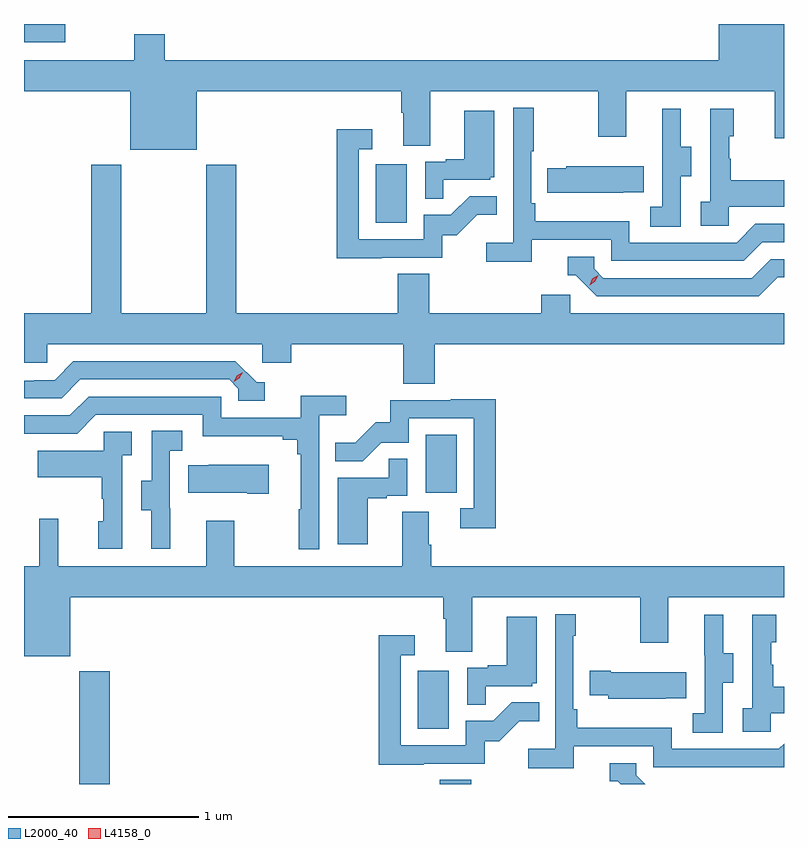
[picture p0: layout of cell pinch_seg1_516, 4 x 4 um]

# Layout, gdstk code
import gdstk
lib = gdstk.Library(unit=1e-6, precision=1e-09)
def R(c, l, rs):  # rectangles x0, y0, x1, y1
    for r in rs: c.add(gdstk.rectangle(r[:2], r[2:], *l))
def P(c, l, *ps):  # polygons
    for p in ps: c.add(gdstk.Polygon(p, *l))
L2000_40 = (2000, 40)
L4158_0 = (4158, 0)

pinch_seg1_516 = lib.new_cell('pinch_seg1_516')
R(pinch_seg1_516, L2000_40, [(1059.976,538.762,1060.136,539.356), (1061.873,538.762,1062.038,538.784), (1061.756,539.052,1061.92,539.359), (1061.798,540.294,1061.962,540.601), (1061.534,541.716,1061.698,542.023), (1059.684,542.667,1059.901,542.762)])
P(pinch_seg1_516, L2000_40, [(1060.594,542.408),(1061.669,542.408),(1061.669,542.296),(1061.681,542.296),(1061.681,542.122),(1061.821,542.122),(1061.821,542.408),(1062.706,542.408),(1062.706,542.169),(1062.853,542.169),(1062.853,542.408),(1063.634,542.408),(1063.634,542.16),(1063.684,542.16),(1063.684,542.762),(1063.34,542.762),(1063.34,542.572),(1060.424,542.572),(1060.424,542.707),(1060.264,542.707),(1060.264,542.572),(1059.684,542.572),(1059.684,542.408),(1060.244,542.408),(1060.244,542.099),(1060.594,542.099)],
  [(1062.356,541.626),(1062.774,541.626),(1062.774,541.515),(1063.471,541.515),(1063.57,541.614),(1063.684,541.614),(1063.684,541.71),(1063.533,541.71),(1063.434,541.611),(1062.87,541.611),(1062.87,541.723),(1062.374,541.723),(1062.374,541.819),(1062.354,541.819),(1062.354,542.092),(1062.367,542.092),(1062.367,542.32),(1062.258,542.32),(1062.258,541.612),(1062.117,541.612),(1062.117,541.51),(1062.356,541.51)],
  [(1063.14,541.96),(1063.195,541.96),(1063.195,542.115),(1063.141,542.115),(1063.141,542.317),(1063.043,542.317),(1063.043,542.103),(1063.044,542.103),(1063.044,541.799),(1062.981,541.799),(1062.981,541.696),(1063.14,541.696)],
  [(1063.392,541.799),(1063.684,541.799),(1063.684,541.939),(1063.405,541.939),(1063.405,542.054),(1063.395,542.054),(1063.395,542.172),(1063.42,542.172),(1063.42,542.317),(1063.296,542.317),(1063.296,541.826),(1063.245,541.826),(1063.245,541.701),(1063.392,541.701)],
  [(1061.891,541.941),(1062.138,541.941),(1062.138,541.956),(1062.16,541.956),(1062.16,542.305),(1062.002,542.305),(1062.002,542.05),(1061.903,542.05),(1061.903,542.037),(1061.796,542.037),(1061.796,541.843),(1061.891,541.843)],
  [(1061.567,541.533),(1061.886,541.533),(1061.886,541.65),(1061.962,541.65),(1062.069,541.757),(1062.173,541.757),(1062.173,541.856),(1062.029,541.856),(1061.931,541.758),(1061.787,541.758),(1061.787,541.629),(1061.445,541.629),(1061.445,542.103),(1061.518,542.103),(1061.518,542.209),(1061.329,542.209),(1061.329,541.528),(1061.567,541.528)],
  [(1061.846,541.076),(1063.684,541.076),(1063.684,541.24),(1062.558,541.24),(1062.558,541.338),(1062.407,541.338),(1062.407,541.24),(1061.816,541.24),(1061.816,541.448),(1061.651,541.448),(1061.651,541.24),(1060.802,541.24),(1060.802,542.02),(1060.642,542.02),(1060.642,541.24),(1060.197,541.24),(1060.197,542.02),(1060.037,542.02),(1060.037,541.24),(1059.684,541.24),(1059.684,540.978),(1059.807,540.978),(1059.807,541.076),(1060.938,541.076),(1060.938,540.978),(1061.09,540.978),(1061.09,541.076),(1061.681,541.076),(1061.681,540.868),(1061.846,540.868)],
  [(1062.839,541.877),(1062.947,541.877),(1062.947,542.014),(1062.537,542.014),(1062.537,542.004),(1062.439,542.004),(1062.439,541.874),(1062.839,541.874)],
  [(1063.651,541.428),(1063.684,541.428),(1063.684,541.524),(1063.614,541.524),(1063.515,541.425),(1062.732,541.425),(1062.684,541.473),(1062.684,541.536),(1062.545,541.536),(1062.545,541.44),(1062.588,541.44),(1062.699,541.329),(1063.552,541.329)],
  [(1060.951,540.876),(1060.908,540.876),(1060.797,540.987),(1059.944,540.987),(1059.845,540.888),(1059.738,540.888),(1059.738,540.885),(1059.684,540.885),(1059.684,540.792),(1059.882,540.792),(1059.981,540.891),(1060.764,540.891),(1060.812,540.843),(1060.812,540.78),(1060.951,540.78)],
  [(1061.238,540.704),(1061.38,540.704),(1061.38,540.806),(1061.141,540.806),(1061.141,540.69),(1060.722,540.69),(1060.722,540.801),(1060.025,540.801),(1059.926,540.702),(1059.684,540.702),(1059.684,540.606),(1059.963,540.606),(1060.062,540.705),(1060.626,540.705),(1060.626,540.593),(1061.045,540.593),(1061.045,540.574),(1061.122,540.574),(1061.122,540.497),(1061.141,540.497),(1061.141,540.209),(1061.13,540.209),(1061.13,539.997),(1061.238,539.997)],
  [(1062.167,540.788),(1061.929,540.788),(1061.929,540.783),(1061.611,540.783),(1061.611,540.666),(1061.534,540.666),(1061.427,540.559),(1061.323,540.559),(1061.323,540.46),(1061.467,540.46),(1061.565,540.558),(1061.709,540.558),(1061.709,540.687),(1062.051,540.687),(1062.051,540.213),(1061.979,540.213),(1061.979,540.108),(1062.167,540.108)],
  [(1060.454,540.213),(1060.452,540.213),(1060.452,540.517),(1060.516,540.517),(1060.516,540.62),(1060.356,540.62),(1060.356,540.357),(1060.301,540.357),(1060.301,540.202),(1060.355,540.202),(1060.355,540),(1060.454,540)],
  [(1060.2,540.491),(1060.252,540.491),(1060.252,540.615),(1060.104,540.615),(1060.104,540.517),(1059.757,540.517),(1059.757,540.377),(1060.092,540.377),(1060.092,540.263),(1060.102,540.263),(1060.102,540.144),(1060.076,540.144),(1060.076,540),(1060.2,540)],
  [(1061.494,540.267),(1061.594,540.267),(1061.594,540.279),(1061.7,540.279),(1061.7,540.473),(1061.605,540.473),(1061.605,540.375),(1061.336,540.375),(1061.336,540.024),(1061.494,540.024)],
  [(1060.972,540.442),(1060.657,540.442),(1060.657,540.439),(1060.549,540.439),(1060.549,540.296),(1060.859,540.296),(1060.859,540.289),(1060.972,540.289)],
  [(1059.928,539.744),(1061.891,539.744),(1061.891,539.632),(1061.903,539.632),(1061.903,539.458),(1062.043,539.458),(1062.043,539.744),(1062.928,539.744),(1062.928,539.505),(1063.075,539.505),(1063.075,539.744),(1063.684,539.744),(1063.684,539.908),(1061.828,539.908),(1061.828,540.02),(1061.815,540.02),(1061.815,540.194),(1061.675,540.194),(1061.675,539.908),(1060.791,539.908),(1060.791,540.148),(1060.643,540.148),(1060.643,539.908),(1059.863,539.908),(1059.863,540.157),(1059.765,540.157),(1059.765,539.908),(1059.684,539.908),(1059.684,539.435),(1059.928,539.435)],
  [(1062.578,538.962),(1062.996,538.962),(1062.996,538.851),(1063.684,538.851),(1063.684,538.975),(1063.656,538.947),(1063.092,538.947),(1063.092,539.059),(1062.596,539.059),(1062.596,539.155),(1062.576,539.155),(1062.576,539.543),(1062.589,539.543),(1062.589,539.656),(1062.48,539.656),(1062.48,538.948),(1062.339,538.948),(1062.339,538.846),(1062.578,538.846)],
  [(1063.362,539.296),(1063.417,539.296),(1063.417,539.451),(1063.363,539.451),(1063.363,539.653),(1063.265,539.653),(1063.265,539.439),(1063.266,539.439),(1063.266,539.135),(1063.203,539.135),(1063.203,539.032),(1063.362,539.032)],
  [(1063.614,539.135),(1063.684,539.135),(1063.684,539.275),(1063.627,539.275),(1063.627,539.39),(1063.617,539.39),(1063.617,539.508),(1063.642,539.508),(1063.642,539.653),(1063.518,539.653),(1063.518,539.162),(1063.467,539.162),(1063.467,539.037),(1063.614,539.037)],
  [(1062.113,539.277),(1062.36,539.277),(1062.36,539.292),(1062.382,539.292),(1062.382,539.641),(1062.224,539.641),(1062.224,539.386),(1062.125,539.386),(1062.125,539.373),(1062.018,539.373),(1062.018,539.179),(1062.113,539.179)],
  [(1061.789,538.869),(1062.108,538.869),(1062.108,538.986),(1062.184,538.986),(1062.291,539.093),(1062.395,539.093),(1062.395,539.192),(1062.251,539.192),(1062.153,539.094),(1062.009,539.094),(1062.009,538.965),(1061.667,538.965),(1061.667,539.439),(1061.74,539.439),(1061.74,539.545),(1061.551,539.545),(1061.551,538.864),(1061.789,538.864)],
  [(1063.061,539.213),(1063.169,539.213),(1063.169,539.35),(1062.772,539.35),(1062.772,539.358),(1062.661,539.358),(1062.661,539.228),(1062.759,539.228),(1062.759,539.21),(1063.061,539.21)],
  [(1062.906,538.809),(1062.906,538.872),(1062.767,538.872),(1062.767,538.776),(1062.81,538.776),(1062.824,538.762),(1062.953,538.762)])
P(pinch_seg1_516, L4158_0, [(1060.787,540.878),(1060.787,540.878),(1060.803,540.911),(1060.834,540.93),(1060.834,540.93),(1060.834,540.93),(1060.818,540.897),(1060.787,540.878)],
  [(1062.661,541.387),(1062.661,541.388),(1062.676,541.42),(1062.706,541.44),(1062.707,541.44),(1062.707,541.44),(1062.691,541.407),(1062.661,541.387)])

lib.write_gds('pinch_seg1_516.gds')
